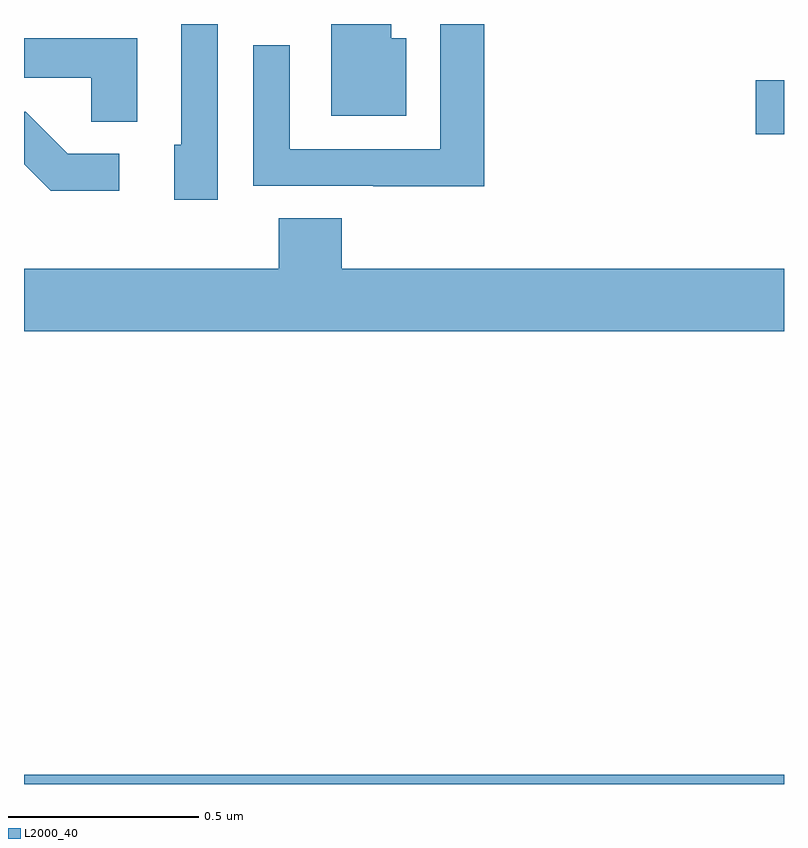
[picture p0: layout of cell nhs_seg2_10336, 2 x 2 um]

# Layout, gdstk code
import gdstk
lib = gdstk.Library(unit=1e-6, precision=1e-09)
def R(c, l, rs):  # rectangles x0, y0, x1, y1
    for r in rs: c.add(gdstk.rectangle(r[:2], r[2:], *l))
def P(c, l, *ps):  # polygons
    for p in ps: c.add(gdstk.Polygon(p, *l))
L2000_40 = (2000, 40)

nhs_seg2_10336 = lib.new_cell('nhs_seg2_10336')
R(nhs_seg2_10336, L2000_40, [(240,623.8,242,623.824), (241.926,625.51,242,625.652)])
P(nhs_seg2_10336, L2000_40, [(241.211,625.8),(241.095,625.8),(241.095,625.47),(240.699,625.47),(240.699,625.744),(240.603,625.744),(240.603,625.374),(240.919,625.374),(240.919,625.373),(241.211,625.373)],
  [(241.006,625.762),(240.967,625.762),(240.967,625.8),(240.809,625.8),(240.809,625.559),(241.006,625.559)],
  [(240.51,625.8),(240.414,625.8),(240.414,625.482),(240.395,625.482),(240.395,625.338),(240.51,625.338)],
  [(240.298,625.762),(240,625.762),(240,625.658),(240.177,625.658),(240.177,625.543),(240.298,625.543)],
  [(240.25,625.458),(240.115,625.458),(240.004,625.569),(240,625.569),(240,625.431),(240.071,625.361),(240.25,625.361)],
  [(242,625.156),(240.836,625.156),(240.836,625.289),(240.671,625.289),(240.671,625.156),(240,625.156),(240,624.992),(242,624.992)])

lib.write_gds('nhs_seg2_10336.gds')
